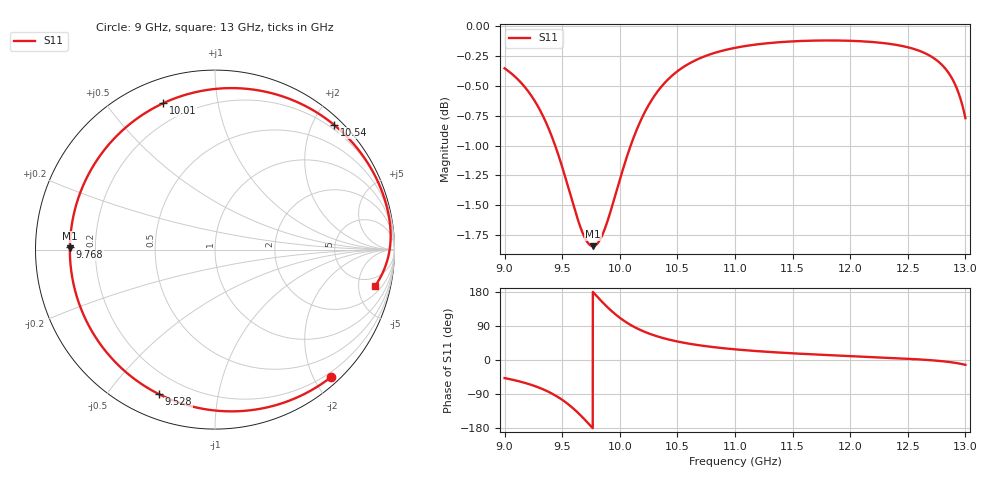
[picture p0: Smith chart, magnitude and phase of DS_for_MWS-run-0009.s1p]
! TOUCHSTONE file generated by CST DESIGN STUDIO
! Date and time: Tue Feb  4 17:14:03 2025
! Project name: C:\Work\MatlabApps\UnitCellOptimizationMatlab\CST\unitcell.cst
! Tree item: Tasks\Sweep1\SPara1\S-Parameters
! Header version: 2024
! Port assignment regex: !\s*Touchstone port\s*([0-9]+)\s*=\s*(CST MWS port|CST DES external port|CST DES block port)\s*(.+)\s* \(\"(.*)\"\)(\s*mode\s*([0-9]+))?.*
! Touchstone port assignment:
! Touchstone port 1 = CST DES external port 1 ("")
# GHz S MA R 50
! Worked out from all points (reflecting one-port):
!   4001 points, 9 GHz to 13 GHz, reference 50 ohm
!   lowest |S11| = -1.8 dB at 9.767 GHz (marker M1), VSWR 9.46, Z = 5.29 + j0.249 ohm
!   phase of S11 starts at -48 deg and turns -325 deg over the sweep
!   S11 on the Smith chart (normalised r, x): 9 GHz: 0.12, -2.25; 9.528 GHz: 0.11, -0.68; 9.768 GHz: 0.11, +0.01; 10.01 GHz: 0.11, +0.70; 10.54 GHz: 0.13, +2.34; 13 GHz: 3.10, -7.71
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9  0.9603 -47.7
9.14  0.9474 -57.4
9.269  0.9293 -69.5
9.4  0.9016 -86.8
9.5  0.873 -105.1
9.528  0.864 -111.1
9.584  0.8457 -124.7
9.639  0.8288 -139.9
9.706  0.8137 -160.5
9.767  0.8087 179.4
9.768  0.8087 179.1
9.827  0.8137 159.7
9.892  0.8282 139.6
9.945  0.8443 124.9
10  0.8623 111.4
10.009  0.8653 109.4
10.109  0.8953 89.9
10.238  0.9246 71.6
10.36  0.9433 59.2
10.5  0.9576 48.8
10.543  0.9609 46.2
10.745  0.9719 36.5
11  0.9795 28.1
11.5  0.9857 17.6
12  0.9862 10.4
12.5  0.9801 3.3
12.797  0.9635 -3.1
13  0.9152 -12.8
